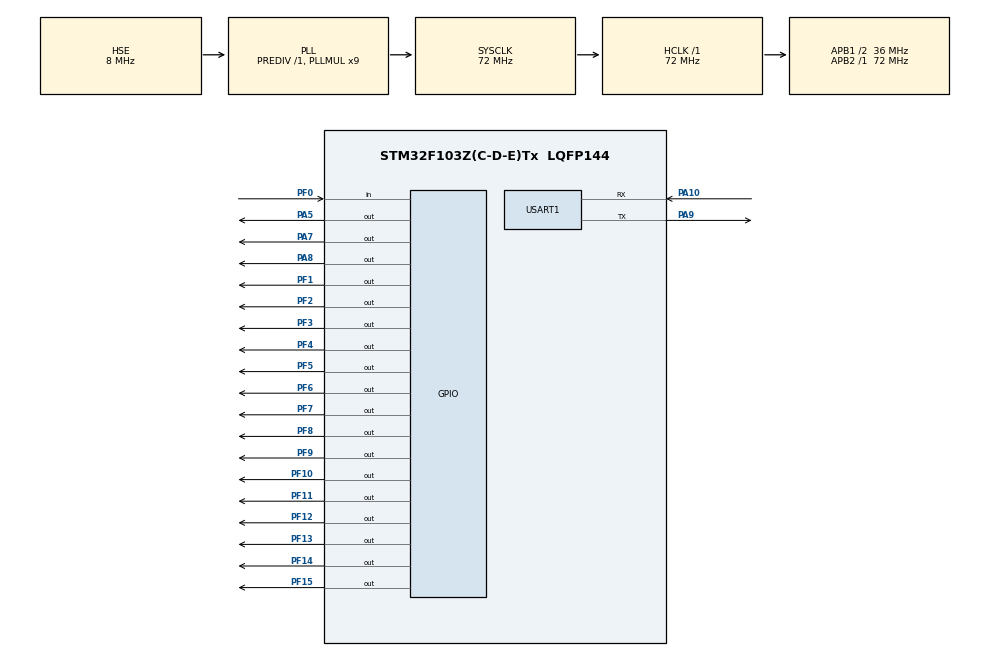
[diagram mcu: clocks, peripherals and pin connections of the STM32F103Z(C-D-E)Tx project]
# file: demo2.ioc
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Dma.Request0=USART1_RX
Dma.Request1=USART1_TX
Dma.USART1_RX.0.Direction=DMA_PERIPH_TO_MEMORY
Dma.USART1_RX.0.Instance=DMA1_Channel5
Dma.USART1_RX.0.MemDataAlignment=DMA_MDATAALIGN_BYTE
Dma.USART1_RX.0.MemInc=DMA_MINC_ENABLE
Dma.USART1_RX.0.Mode=DMA_NORMAL
Dma.USART1_RX.0.PeriphDataAlignment=DMA_PDATAALIGN_BYTE
Dma.USART1_RX.0.PeriphInc=DMA_PINC_DISABLE
Dma.USART1_RX.0.Priority=DMA_PRIORITY_LOW
Dma.USART1_TX.1.Direction=DMA_MEMORY_TO_PERIPH
Dma.USART1_TX.1.Instance=DMA1_Channel4
Dma.USART1_TX.1.MemDataAlignment=DMA_MDATAALIGN_BYTE
Dma.USART1_TX.1.MemInc=DMA_MINC_ENABLE
Dma.USART1_TX.1.Mode=DMA_NORMAL
Dma.USART1_TX.1.PeriphDataAlignment=DMA_PDATAALIGN_BYTE
Dma.USART1_TX.1.PeriphInc=DMA_PINC_DISABLE
Dma.USART1_TX.1.Priority=DMA_PRIORITY_LOW
Mcu.Family=STM32F1
Mcu.Name=STM32F103Z(C-D-E)Tx
Mcu.Package=LQFP144
NVIC.DMA1_Channel4_IRQn=true\:0\:0\:false\:false\:true\:false\:true\:true
NVIC.DMA1_Channel5_IRQn=true\:0\:0\:false\:false\:true\:false\:true\:true
NVIC.PriorityGroup=NVIC_PRIORITYGROUP_4
NVIC.USART1_IRQn=true\:0\:0\:false\:false\:true\:true\:true\:true
OSC_IN.Mode=HSE-External-Oscillator
OSC_IN.Signal=RCC_OSC_IN
OSC_OUT.Mode=HSE-External-Oscillator
OSC_OUT.Signal=RCC_OSC_OUT
PA10.Mode=Asynchronous
PA10.Signal=USART1_RX
PA13.Mode=Serial_Wire
PA13.Signal=SYS_JTMS-SWDIO
PA14.Mode=Serial_Wire
PA14.Signal=SYS_JTCK-SWCLK
PA5.Signal=GPIO_Output
PA7.Signal=GPIO_Output
PA8.Signal=GPIO_Output
PA9.Mode=Asynchronous
PA9.Signal=USART1_TX
PF0.Signal=GPIO_Input
PF1.Signal=GPIO_Output
PF10.Signal=GPIO_Output
PF11.Signal=GPIO_Output
PF12.Signal=GPIO_Output
PF13.Signal=GPIO_Output
PF14.Signal=GPIO_Output
PF15.Signal=GPIO_Output
PF2.Signal=GPIO_Output
PF3.Signal=GPIO_Output
PF4.Signal=GPIO_Output
PF5.Signal=GPIO_Output
PF6.Signal=GPIO_Output
PF7.Signal=GPIO_Output
PF8.Signal=GPIO_Output
PF9.Signal=GPIO_Output
ProjectManager.HeapSize=0x200
ProjectManager.StackSize=0x400
ProjectManager.TargetToolchain=MDK-ARM V5.32
RCC.AHBFreq_Value=72000000
RCC.APB1CLKDivider=RCC_HCLK_DIV2
RCC.APB1Freq_Value=36000000
RCC.APB1TimFreq_Value=72000000
RCC.APB2Freq_Value=72000000
RCC.APB2TimFreq_Value=72000000
RCC.HCLKFreq_Value=72000000
RCC.PLLMUL=RCC_PLL_MUL9
RCC.PLLSourceVirtual=RCC_PLLSOURCE_HSE
RCC.SYSCLKFreq_VALUE=72000000
RCC.SYSCLKSource=RCC_SYSCLKSOURCE_PLLCLK
RCC.USBFreq_Value=72000000
USART1.VirtualMode=VM_ASYNC
board=custom

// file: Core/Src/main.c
/* USER CODE BEGIN Header */
/**
  ******************************************************************************
  * @file           : main.c
  * @brief          : Main program body
  ******************************************************************************
  * @attention
  *
  * Copyright (c) 2025 STMicroelectronics.
  * All rights reserved.
  *
  * This software is licensed under terms that can be found in the LICENSE file
  * in the root directory of this software component.
  * If no LICENSE file comes with this software, it is provided AS-IS.
  *
  ******************************************************************************
  */
/* USER CODE END Header */
#include "main.h"
#include "dma.h"
#include "usart.h"
#include "gpio.h"

/* USER CODE BEGIN Includes */
#include "Led.h"
#include "basic.h"
#include "Seg.h"
/* USER CODE END Includes */

/* USER CODE BEGIN PV */
/*数码管*/
volatile uint8_t  seg_buf[] = {0x00,0x00,0x00,0x00,0x00,0x00,0x00,0x00,0x00}; //BUF:SEG_DISP
/*串口数组*/
uint8_t receiveData[] = {0x00,0x00,0x00,0x00,0x00,0x00,0x00,0x00,0x00,0x00};
uint8_t transmitData[] = {0x00,0x00,0x00,0x00,0x00,0x00,0x00,0x00,0x00,0x00};

/* USER CODE END PV */

void SystemClock_Config(void);

/* USER CODE BEGIN 0 */
void HAL_UART_RxCpltCallback(UART_HandleTypeDef *huart){
		int trans_count = 0;

        for (int i = 0; i < 3; i++) {
            uint8_t rx_char = receiveData[i];

            if (rx_char >= '0' && rx_char <= '9') {
                // 数字处理：右移滚动显示
                for (int j = 8; j >= 2; j--) {
                    seg_buf[j] = seg_buf[j-1];
                }
                seg_buf[1] = rx_char - '0';  // 新数字放最右
            } else {
                // 非数字处理：使用transmitData回传
                transmitData[trans_count++] = rx_char;
            }
        }
	if(trans_count >0)
		HAL_UART_Transmit_DMA(&huart1 , transmitData , trans_count);
	//接受数据
	HAL_UART_Receive_DMA(&huart1 , receiveData , 3);

}
/* USER CODE END 0 */

int main(void)
{

  /* MCU Configuration--------------------------------------------------------*/

  /* Reset of all peripherals, Initializes the Flash interface and the Systick. */
  HAL_Init();

  /* Configure the system clock */
  SystemClock_Config();

  /* Initialize all configured peripherals */
  MX_GPIO_Init();
  MX_DMA_Init();
  MX_USART1_UART_Init();
  /* USER CODE BEGIN 2 */
	Seg_Init();
	HAL_UART_Receive_DMA(&huart1 , receiveData , 3);
  /* USER CODE END 2 */

  /* Infinite loop */
  while (1)
  {

    /* USER CODE BEGIN 3 */
		for (int i = 1; i <= 8; i++) {
			Seg_disp(seg_buf[i],i);
			delay_ms(1);
		}

  }
  /* USER CODE END 3 */
}

void SystemClock_Config(void)
{
  RCC_OscInitTypeDef RCC_OscInitStruct = {0};
  RCC_ClkInitTypeDef RCC_ClkInitStruct = {0};

  /** Initializes the RCC Oscillators according to the specified parameters
  * in the RCC_OscInitTypeDef structure.
  */
  RCC_OscInitStruct.OscillatorType = RCC_OSCILLATORTYPE_HSE;
  RCC_OscInitStruct.HSEState = RCC_HSE_ON;
  RCC_OscInitStruct.HSEPredivValue = RCC_HSE_PREDIV_DIV1;
  RCC_OscInitStruct.HSIState = RCC_HSI_ON;
  RCC_OscInitStruct.PLL.PLLState = RCC_PLL_ON;
  RCC_OscInitStruct.PLL.PLLSource = RCC_PLLSOURCE_HSE;
  RCC_OscInitStruct.PLL.PLLMUL = RCC_PLL_MUL9;
  if (HAL_RCC_OscConfig(&RCC_OscInitStruct) != HAL_OK)
  {
    Error_Handler();
  }

  /** Initializes the CPU, AHB and APB buses clocks
  */
  RCC_ClkInitStruct.ClockType = RCC_CLOCKTYPE_HCLK|RCC_CLOCKTYPE_SYSCLK
                              |RCC_CLOCKTYPE_PCLK1|RCC_CLOCKTYPE_PCLK2;
  RCC_ClkInitStruct.SYSCLKSource = RCC_SYSCLKSOURCE_PLLCLK;
  RCC_ClkInitStruct.AHBCLKDivider = RCC_SYSCLK_DIV1;
  RCC_ClkInitStruct.APB1CLKDivider = RCC_HCLK_DIV2;
  RCC_ClkInitStruct.APB2CLKDivider = RCC_HCLK_DIV1;

  if (HAL_RCC_ClockConfig(&RCC_ClkInitStruct, FLASH_LATENCY_2) != HAL_OK)
  {
    Error_Handler();
  }
}

void Error_Handler(void)
{
  __disable_irq();
  while (1)
  {
  }
}
